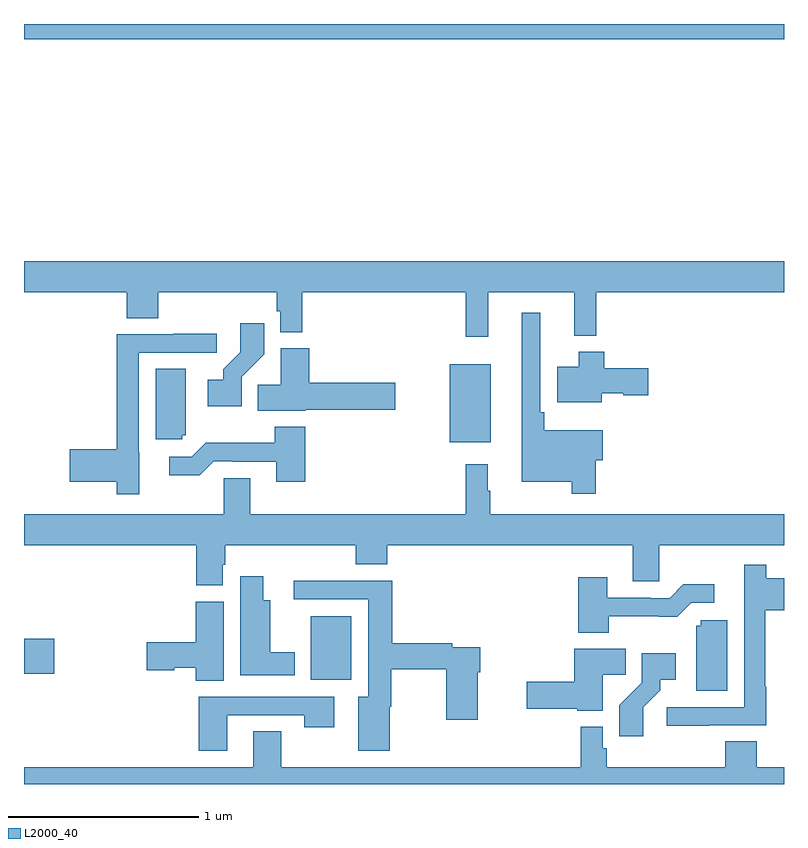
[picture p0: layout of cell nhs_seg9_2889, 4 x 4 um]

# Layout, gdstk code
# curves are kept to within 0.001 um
import gdstk
lib = gdstk.Library(unit=1e-6, precision=1e-09)
def R(c, l, rs):  # rectangles x0, y0, x1, y1
    for r in rs: c.add(gdstk.rectangle(r[:2], r[2:], *l))
def P(c, l, *ps):  # polygons
    for p in ps: c.add(gdstk.Polygon(p, *l))
L2000_40 = (2000, 40)

nhs_seg9_2889 = lib.new_cell('nhs_seg9_2889')
R(nhs_seg9_2889, L2000_40, [(278.51,1193.048,278.722,1193.383), (277,1193.081,277.159,1193.264), (279.242,1194.299,279.457,1194.709), (277,1196.42,281,1196.5)])
P(nhs_seg9_2889, L2000_40, [(279.443,1195.088),(279.896,1195.088),(279.896,1194.86),(280.013,1194.86),(280.013,1195.088),(281,1195.088),(281,1195.252),(277,1195.252),(277,1195.088),(277.541,1195.088),(277.541,1194.952),(277.706,1194.952),(277.706,1195.088),(278.329,1195.088),(278.329,1194.987),(278.349,1194.987),(278.349,1194.878),(278.465,1194.878),(278.465,1195.088),(279.325,1195.088),(279.325,1194.855),(279.443,1194.855)],
  [(280.01,1194.203),(280.045,1194.203),(280.045,1194.361),(279.737,1194.361),(279.737,1194.457),(279.717,1194.457),(279.717,1194.979),(279.62,1194.979),(279.62,1194.092),(279.882,1194.092),(279.882,1194.027),(280.01,1194.027)],
  [(278.145,1194.643),(278.264,1194.762),(278.264,1194.925),(278.139,1194.925),(278.139,1194.773),(278.048,1194.683),(278.048,1194.628),(277.968,1194.628),(277.968,1194.488),(278.145,1194.488)],
  [(277.606,1194.246),(277.605,1194.246),(277.605,1194.771),(278.014,1194.771),(278.014,1194.87),(277.789,1194.87),(277.789,1194.867),(277.489,1194.867),(277.489,1194.263),(277.242,1194.263),(277.242,1194.092),(277.489,1194.092),(277.489,1194.024),(277.606,1194.024)],
  [(278.484,1194.47),(278.953,1194.47),(278.953,1194.612),(278.501,1194.612),(278.501,1194.793),(278.351,1194.793),(278.351,1194.602),(278.23,1194.602),(278.23,1194.464),(278.484,1194.464)],
  [(280.042,1194.557),(280.155,1194.557),(280.155,1194.545),(280.285,1194.545),(280.285,1194.687),(280.055,1194.687),(280.055,1194.775),(279.92,1194.775),(279.92,1194.697),(279.806,1194.697),(279.806,1194.509),(280.042,1194.509)],
  [(277.833,1194.336),(277.852,1194.336),(277.852,1194.685),(277.694,1194.685),(277.694,1194.315),(277.833,1194.315)],
  [(278.48,1194.379),(278.32,1194.379),(278.32,1194.295),(277.957,1194.295),(277.884,1194.222),(277.764,1194.222),(277.764,1194.125),(277.925,1194.125),(277.998,1194.198),(278.098,1194.198),(278.098,1194.195),(278.327,1194.195),(278.327,1194.09),(278.48,1194.09)],
  [(278.047,1193.655),(278.06,1193.655),(278.06,1193.756),(278.747,1193.756),(278.747,1193.657),(278.912,1193.657),(278.912,1193.756),(280.205,1193.756),(280.205,1193.566),(280.344,1193.566),(280.344,1193.756),(281,1193.756),(281,1193.92),(279.454,1193.92),(279.454,1194.044),(279.442,1194.044),(279.442,1194.184),(279.325,1194.184),(279.325,1193.92),(278.191,1193.92),(278.191,1194.11),(278.052,1194.11),(278.052,1193.92),(277,1193.92),(277,1193.756),(277.907,1193.756),(277.907,1193.545),(278.047,1193.545)],
  [(280.607,1192.809),(280.907,1192.809),(280.907,1193.012),(280.9,1193.012),(280.9,1193.414),(281,1193.414),(281,1193.584),(280.907,1193.584),(280.907,1193.653),(280.79,1193.653),(280.79,1193.43),(280.791,1193.43),(280.791,1192.905),(280.383,1192.905),(280.383,1192.807),(280.607,1192.807)],
  [(278.425,1193.194),(278.296,1193.194),(278.296,1193.467),(278.26,1193.467),(278.26,1193.593),(278.138,1193.593),(278.138,1193.072),(278.425,1193.072)],
  [(280.077,1193.382),(280.439,1193.381),(280.512,1193.454),(280.633,1193.454),(280.633,1193.551),(280.471,1193.551),(280.398,1193.478),(280.298,1193.478),(280.298,1193.481),(280.069,1193.481),(280.069,1193.587),(279.917,1193.587),(279.917,1193.297),(280.077,1193.297)],
  [(278.926,1192.907),(278.934,1192.907),(278.934,1193.104),(279.223,1193.104),(279.223,1192.839),(279.388,1192.839),(279.388,1193.087),(279.401,1193.087),(279.401,1193.22),(279.254,1193.22),(279.254,1193.24),(278.939,1193.24),(278.939,1193.57),(278.421,1193.57),(278.421,1193.472),(278.813,1193.472),(278.813,1192.96),(278.759,1192.96),(278.759,1192.674),(278.926,1192.674)],
  [(278.05,1193.46),(277.904,1193.46),(277.904,1193.246),(277.647,1193.246),(277.647,1193.099),(277.79,1193.099),(277.79,1193.111),(277.904,1193.111),(277.904,1193.044),(278.05,1193.044)],
  [(280.702,1193.361),(280.563,1193.361),(280.563,1193.334),(280.538,1193.334),(280.538,1192.99),(280.702,1192.99)],
  [(280.045,1193.074),(280.166,1193.074),(280.166,1193.212),(279.896,1193.212),(279.896,1193.039),(279.645,1193.039),(279.645,1192.897),(279.912,1192.897),(279.912,1192.886),(280.045,1192.886)],
  [(280.258,1192.903),(280.348,1192.993),(280.348,1193.048),(280.429,1193.048),(280.429,1193.188),(280.251,1193.188),(280.251,1193.033),(280.132,1192.914),(280.132,1192.752),(280.258,1192.752)],
  [(278.071,1192.863),(278.476,1192.863),(278.476,1192.8),(278.632,1192.8),(278.632,1192.959),(277.919,1192.959),(277.919,1192.674),(278.071,1192.674)],
  [(281,1192.588),(280.856,1192.588),(280.856,1192.724),(280.691,1192.724),(280.691,1192.588),(280.067,1192.588),(280.067,1192.689),(280.047,1192.689),(280.047,1192.801),(279.931,1192.801),(279.931,1192.588),(278.355,1192.588),(278.355,1192.778),(278.207,1192.778),(278.207,1192.588),(277,1192.588),(277,1192.5),(281,1192.5)])

lib.write_gds('nhs_seg9_2889.gds')
